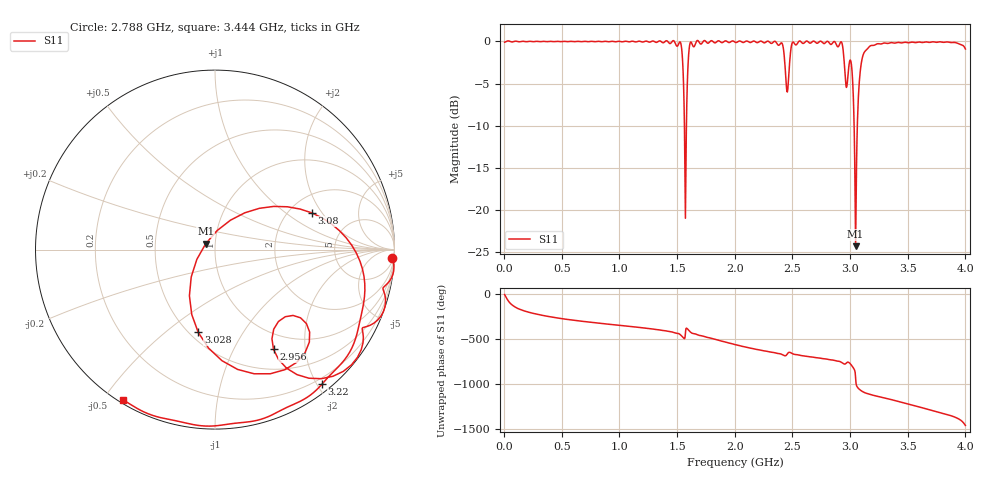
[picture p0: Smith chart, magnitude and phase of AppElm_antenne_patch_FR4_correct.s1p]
! TOUCHSTONE file generated by CST MICROWAVE STUDIO
! Date and time: Tue Jun  7 18:19:40 2022
! Project name: AppElm_antenne_patch_FR4.cst
! Parameters = {L=45; W=58.5; e=0.035; h=1.6; lambda=0.190476; ls=120; w0=1.6; w1=0.533333; ws=120; y0=20; y1=23.8095}
! Header version: 2018
! Port assignment regex: !\s*Touchstone port\s*([0-9]+)\s*=\s*(CST MWS port|CST DS port)\s*([0-9]+|Zmin|Zmax)\s*\(\"(.*)\"\)(\s*mode\s*([0-9]+))?.*
! Touchstone port assignment:
! Touchstone port 1 = CST MWS port 1 ("")
# GHz S MA R 50
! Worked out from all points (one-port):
!   1000 points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, 4 MHz to 4 GHz, reference 50 ohm
!   lowest |S11| = -24.3 dB at 3.048 GHz (marker M1), VSWR 1.13, Z = 45 + j2.98 ohm
!   |S11| at or under -10 dB: 1.563 GHz to 1.581 GHz (17.29 MHz wide, 1.1 % of centre); 3.035 GHz to 3.063 GHz (28.04 MHz wide, 0.92 % of centre)
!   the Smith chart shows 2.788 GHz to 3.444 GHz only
!   S11 on the Smith chart (normalised r, x): 2.788 GHz: 12, -40; 2.956 GHz: 0.77, -1.46; 3.028 GHz: 0.55, -0.65; 3.08 GHz: 2.63, +1.61; 3.22 GHz: 0.11, -2.06; 3.444 GHz: 0.01, -0.56
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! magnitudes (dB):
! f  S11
! 4 MHz  -0.1
! 504 MHz  0.0
! 1.004 GHz  0.0
! 1.504 GHz  -0.5
! 1.536 GHz  -0.5
! 1.56 GHz  -7.3
! 1.572 GHz  -21.0
! 1.588 GHz  -5.2
! 1.604 GHz  -0.9
! 1.62 GHz  -0.1
! 2.004 GHz  -0.1
! 2.4 GHz  -0.2
! 2.456 GHz  -6.0
! 2.504 GHz  -0.1
! 2.788 GHz  -0.1
! 2.92 GHz  0.0
! 2.956 GHz  -3.8
! 3.004 GHz  -2.2
! 3.016 GHz  -3.4
! 3.028 GHz  -6.5
! 3.048 GHz  -24.3
! 3.064 GHz  -9.4
! 3.08 GHz  -4.8
! 3.12 GHz  -1.4
! 3.22 GHz  -0.4
! 3.444 GHz  -0.2
! 3.504 GHz  -0.1
! 4 GHz  -0.9
